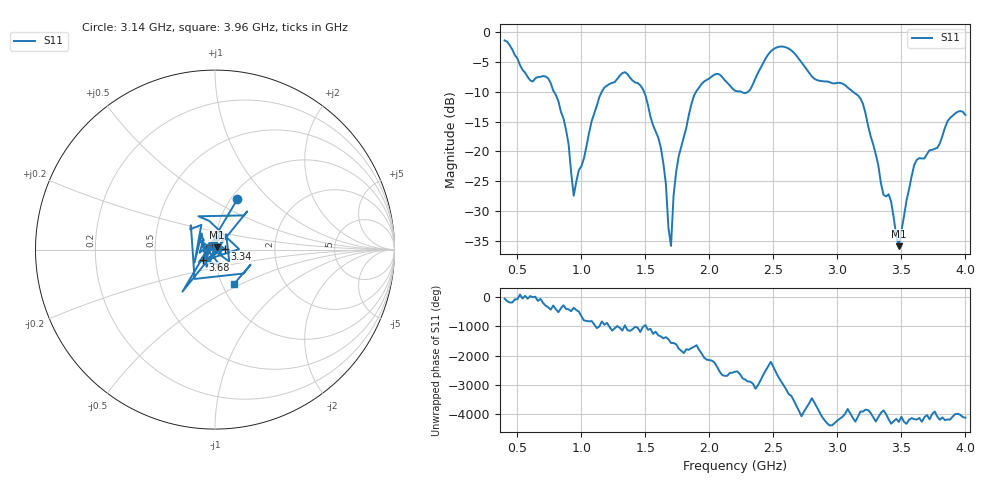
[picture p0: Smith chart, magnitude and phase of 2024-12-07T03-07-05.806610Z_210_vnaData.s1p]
!Created with skrf (http://scikit-rf.org).
# Hz S RI R 50.0
!freq ReS11 ImS11
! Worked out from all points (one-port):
!   181 points, 400 MHz to 4 GHz, reference 50 ohm
!   lowest |S11| = -35.9 dB at 3.48 GHz (marker M1), VSWR 1.03, Z = 50.8 + j1.37 ohm
!   |S11| at or under -10 dB: 785.7 MHz to 1.159 GHz (373 MHz wide, 38.4 % of centre); 1.489 GHz to 1.896 GHz (406.5 MHz wide, 24 % of centre); 3.123 GHz to end of sweep (the widest 3 of 4)
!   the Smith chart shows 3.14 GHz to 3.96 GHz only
!   S11 on the Smith chart (normalised r, x): 3.14 GHz: 1.07, +0.66; 3.34 GHz: 1.11, +0.01; 3.68 GHz: 0.87, -0.10; 3.96 GHz: 1.14, -0.46
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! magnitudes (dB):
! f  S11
! 400 MHz  -1.4
! 600 MHz  -8.1
! 740 MHz  -7.7
! 860 MHz  -14.5
! 940 MHz  -27.5
! 1.14 GHz  -10.9
! 1.3 GHz  -7.3
! 1.48 GHz  -9.5
! 1.6 GHz  -17.7
! 1.66 GHz  -25.4
! 1.7 GHz  -35.9
! 1.72 GHz  -27.5
! 1.76 GHz  -20.8
! 1.94 GHz  -8.6
! 2.2 GHz  -9.8
! 2.32 GHz  -9.6
! 2.5 GHz  -2.8
! 2.66 GHz  -3.4
! 3.1 GHz  -9.6
! 3.14 GHz  -10.3
! 3.2 GHz  -12.0
! 3.34 GHz  -25.3
! 3.42 GHz  -28.5
! 3.48 GHz  -35.9
! 3.56 GHz  -26.4
! 3.68 GHz  -21.2
! 3.96 GHz  -13.2
! 4 GHz  -13.9
